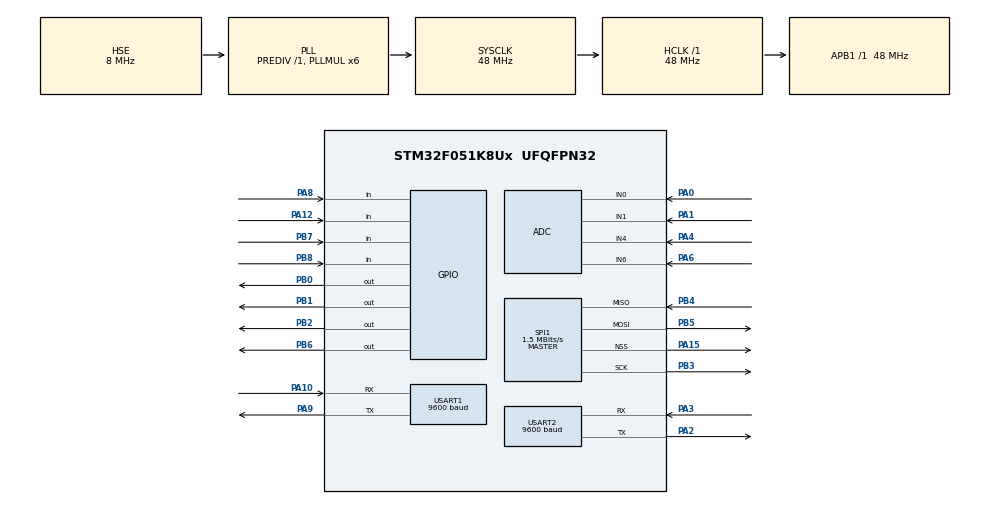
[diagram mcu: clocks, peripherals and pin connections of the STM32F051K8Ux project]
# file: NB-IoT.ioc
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Dma.Request0=USART2_RX
Dma.USART2_RX.0.Direction=DMA_PERIPH_TO_MEMORY
Dma.USART2_RX.0.Instance=DMA1_Channel5
Dma.USART2_RX.0.MemDataAlignment=DMA_MDATAALIGN_BYTE
Dma.USART2_RX.0.MemInc=DMA_MINC_ENABLE
Dma.USART2_RX.0.Mode=DMA_NORMAL
Dma.USART2_RX.0.PeriphDataAlignment=DMA_PDATAALIGN_BYTE
Dma.USART2_RX.0.PeriphInc=DMA_PINC_DISABLE
Dma.USART2_RX.0.Priority=DMA_PRIORITY_LOW
Mcu.Family=STM32F0
Mcu.Name=STM32F051K8Ux
Mcu.Package=UFQFPN32
NVIC.DMA1_Channel4_5_IRQn=true\:0\:0\:false\:false\:true
NVIC.USART1_IRQn=true\:0\:0\:false\:false\:true
NVIC.USART2_IRQn=true\:0\:0\:false\:false\:true
PA0.Mode=IN0
PA0.Signal=ADC_IN0
PA1.Mode=IN1
PA1.Signal=ADC_IN1
PA10.Mode=Asynchronous
PA10.Signal=USART1_RX
PA12.Signal=GPIO_Input
PA13.Mode=Serial_Wire
PA13.Signal=SYS_SWDIO
PA14.Mode=Serial_Wire
PA14.Signal=SYS_SWCLK
PA15.Mode=NSS_Signal_Hard_Output
PA15.Signal=SPI1_NSS
PA2.Mode=Asynchronous
PA2.Signal=USART2_TX
PA3.Mode=Asynchronous
PA3.Signal=USART2_RX
PA4.Mode=IN4
PA4.Signal=ADC_IN4
PA6.Mode=IN6
PA6.Signal=ADC_IN6
PA8.Signal=GPIO_Input
PA9.Mode=Asynchronous
PA9.Signal=USART1_TX
PB0.Signal=GPIO_Output
PB1.Signal=GPIO_Output
PB2.Signal=GPIO_Output
PB3.Mode=Full_Duplex_Master
PB3.Signal=SPI1_SCK
PB4.Mode=Full_Duplex_Master
PB4.Signal=SPI1_MISO
PB5.Mode=Full_Duplex_Master
PB5.Signal=SPI1_MOSI
PB6.Signal=GPIO_Output
PB7.Signal=GPIO_Input
PB8.Signal=GPIO_Input
PF0-OSC_IN.Mode=HSE-External-Oscillator
PF0-OSC_IN.Signal=RCC_OSC_IN
PF1-OSC_OUT.Mode=HSE-External-Oscillator
PF1-OSC_OUT.Signal=RCC_OSC_OUT
ProjectManager.HeapSize=0x200
ProjectManager.StackSize=0x400
ProjectManager.TargetToolchain=MDK-ARM V5
RCC.AHBFreq_Value=48000000
RCC.APB1Freq_Value=48000000
RCC.APB1TimFreq_Value=48000000
RCC.HCLKFreq_Value=48000000
RCC.PLLMUL=RCC_PLL_MUL6
RCC.PLLSourceVirtual=RCC_PLLSOURCE_HSE
RCC.SYSCLKFreq_VALUE=48000000
RCC.SYSCLKSource=RCC_SYSCLKSOURCE_PLLCLK
SPI1.BaudRatePrescaler=SPI_BAUDRATEPRESCALER_32
SPI1.CalculateBaudRate=1.5 MBits/s
SPI1.DataSize=SPI_DATASIZE_8BIT
SPI1.Direction=SPI_DIRECTION_2LINES
SPI1.Mode=SPI_MODE_MASTER
SPI1.VirtualNSS=VM_NSSHARD
SPI1.VirtualType=VM_MASTER
USART1.BaudRate=9600
USART1.VirtualMode-Asynchronous=VM_ASYNC
USART2.BaudRate=9600
USART2.VirtualMode-Asynchronous=VM_ASYNC
board=NB-IoT

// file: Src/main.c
/**
  ******************************************************************************
  * File Name          : main.c
  * Description        : Main program body
  ******************************************************************************
  ** This notice applies to any and all portions of this file
  * that are not between comment pairs USER CODE BEGIN and
  * USER CODE END. Other portions of this file, whether
  * inserted by the user or by software development tools
  * are owned by their respective copyright owners.
  *
  * COPYRIGHT(c) 2018 STMicroelectronics
  *
  * Redistribution and use in source and binary forms, with or without modification,
  * are permitted provided that the following conditions are met:
  *   1. Redistributions of source code must retain the above copyright notice,
  *      this list of conditions and the following disclaimer.
  *   2. Redistributions in binary form must reproduce the above copyright notice,
  *      this list of conditions and the following disclaimer in the documentation
  *      and/or other materials provided with the distribution.
  *   3. Neither the name of STMicroelectronics nor the names of its contributors
  *      may be used to endorse or promote products derived from this software
  *      without specific prior written permission.
  *
  * THIS SOFTWARE IS PROVIDED BY THE COPYRIGHT HOLDERS AND CONTRIBUTORS "AS IS"
  * AND ANY EXPRESS OR IMPLIED WARRANTIES, INCLUDING, BUT NOT LIMITED TO, THE
  * IMPLIED WARRANTIES OF MERCHANTABILITY AND FITNESS FOR A PARTICULAR PURPOSE ARE
  * DISCLAIMED. IN NO EVENT SHALL THE COPYRIGHT HOLDER OR CONTRIBUTORS BE LIABLE
  * FOR ANY DIRECT, INDIRECT, INCIDENTAL, SPECIAL, EXEMPLARY, OR CONSEQUENTIAL
  * DAMAGES (INCLUDING, BUT NOT LIMITED TO, PROCUREMENT OF SUBSTITUTE GOODS OR
  * SERVICES; LOSS OF USE, DATA, OR PROFITS; OR BUSINESS INTERRUPTION) HOWEVER
  * CAUSED AND ON ANY THEORY OF LIABILITY, WHETHER IN CONTRACT, STRICT LIABILITY,
  * OR TORT (INCLUDING NEGLIGENCE OR OTHERWISE) ARISING IN ANY WAY OUT OF THE USE
  * OF THIS SOFTWARE, EVEN IF ADVISED OF THE POSSIBILITY OF SUCH DAMAGE.
  *
  ******************************************************************************
  */
#include "main.h"
#include "stm32f0xx_hal.h"
#include "adc.h"
#include "dma.h"
#include "spi.h"
#include "usart.h"
#include "gpio.h"

/* USER CODE BEGIN Includes */

#include "lcd.h"
#include "led.h"
#include <stdio.h>
#include "nbiotdriver.h"

/* USER CODE END Includes */

/* USER CODE BEGIN PV */
/* Private variables ---------------------------------------------------------*/

/* USER CODE END PV */

void SystemClock_Config(void);

/* USER CODE BEGIN PFP */
/* Private function prototypes -----------------------------------------------*/

/* USER CODE END PFP */
extern uchar senddata[100];
extern uchar sendlen;

int main(void)
{

  /* MCU Configuration----------------------------------------------------------*/

  /* Reset of all peripherals, Initializes the Flash interface and the Systick. */
  HAL_Init();

  /* Configure the system clock */
  SystemClock_Config();

  /* Initialize all configured peripherals */
  MX_GPIO_Init();
  MX_DMA_Init();
  MX_ADC_Init();
  MX_USART2_UART_Init();
  MX_USART1_UART_Init();
  MX_SPI1_Init();

  /* USER CODE BEGIN 2 */

	Lcd_Init();

	Lcd_Clear(YELLOW);

	EnableUartIT();

	LedInit();

	NB_Init();

    //set send data and length
    senddata[0] = 0x31;
    senddata[1] = 0x32;
    senddata[2] = 0x32;
    sendlen = 3;

  /* USER CODE END 2 */

  /* Infinite loop */
  while (1)
  {

  /* USER CODE BEGIN 3 */
		LedTask();
		NB_Task();

  }
  /* USER CODE END 3 */

}

/** System Clock Configuration
*/
void SystemClock_Config(void)
{

  RCC_OscInitTypeDef RCC_OscInitStruct;
  RCC_ClkInitTypeDef RCC_ClkInitStruct;
  RCC_PeriphCLKInitTypeDef PeriphClkInit;

    /**Initializes the CPU, AHB and APB busses clocks
    */
  RCC_OscInitStruct.OscillatorType = RCC_OSCILLATORTYPE_HSI14|RCC_OSCILLATORTYPE_HSE;
  RCC_OscInitStruct.HSEState = RCC_HSE_ON;
  RCC_OscInitStruct.HSIState = RCC_HSI_ON;
  RCC_OscInitStruct.HSI14State = RCC_HSI14_ON;
  RCC_OscInitStruct.HSI14CalibrationValue = 16;
  RCC_OscInitStruct.PLL.PLLState = RCC_PLL_ON;
  RCC_OscInitStruct.PLL.PLLSource = RCC_PLLSOURCE_HSE;
  RCC_OscInitStruct.PLL.PLLMUL = RCC_PLL_MUL6;
  RCC_OscInitStruct.PLL.PREDIV = RCC_PREDIV_DIV1;
  if (HAL_RCC_OscConfig(&RCC_OscInitStruct) != HAL_OK)
  {
    _Error_Handler(__FILE__, __LINE__);
  }

    /**Initializes the CPU, AHB and APB busses clocks
    */
  RCC_ClkInitStruct.ClockType = RCC_CLOCKTYPE_HCLK|RCC_CLOCKTYPE_SYSCLK
                              |RCC_CLOCKTYPE_PCLK1;
  RCC_ClkInitStruct.SYSCLKSource = RCC_SYSCLKSOURCE_PLLCLK;
  RCC_ClkInitStruct.AHBCLKDivider = RCC_SYSCLK_DIV1;
  RCC_ClkInitStruct.APB1CLKDivider = RCC_HCLK_DIV1;

  if (HAL_RCC_ClockConfig(&RCC_ClkInitStruct, FLASH_LATENCY_1) != HAL_OK)
  {
    _Error_Handler(__FILE__, __LINE__);
  }

  PeriphClkInit.PeriphClockSelection = RCC_PERIPHCLK_USART1;
  PeriphClkInit.Usart1ClockSelection = RCC_USART1CLKSOURCE_PCLK1;
  if (HAL_RCCEx_PeriphCLKConfig(&PeriphClkInit) != HAL_OK)
  {
    _Error_Handler(__FILE__, __LINE__);
  }

    /**Configure the Systick interrupt time
    */
  HAL_SYSTICK_Config(HAL_RCC_GetHCLKFreq()/1000);

    /**Configure the Systick
    */
  HAL_SYSTICK_CLKSourceConfig(SYSTICK_CLKSOURCE_HCLK);

  /* SysTick_IRQn interrupt configuration */
  HAL_NVIC_SetPriority(SysTick_IRQn, 0, 0);
}

/* USER CODE BEGIN 4 */

int fputc(int ch,FILE *f)
{

	while((USART1->ISR&0x40) == 0);

	USART1->TDR = (uint8_t)ch;
	return ch;

}

/* USER CODE END 4 */

void _Error_Handler(char * file, int line)
{
  while(1)
  {
  }
}

/************************ (C) COPYRIGHT STMicroelectronics *****END OF FILE****/
